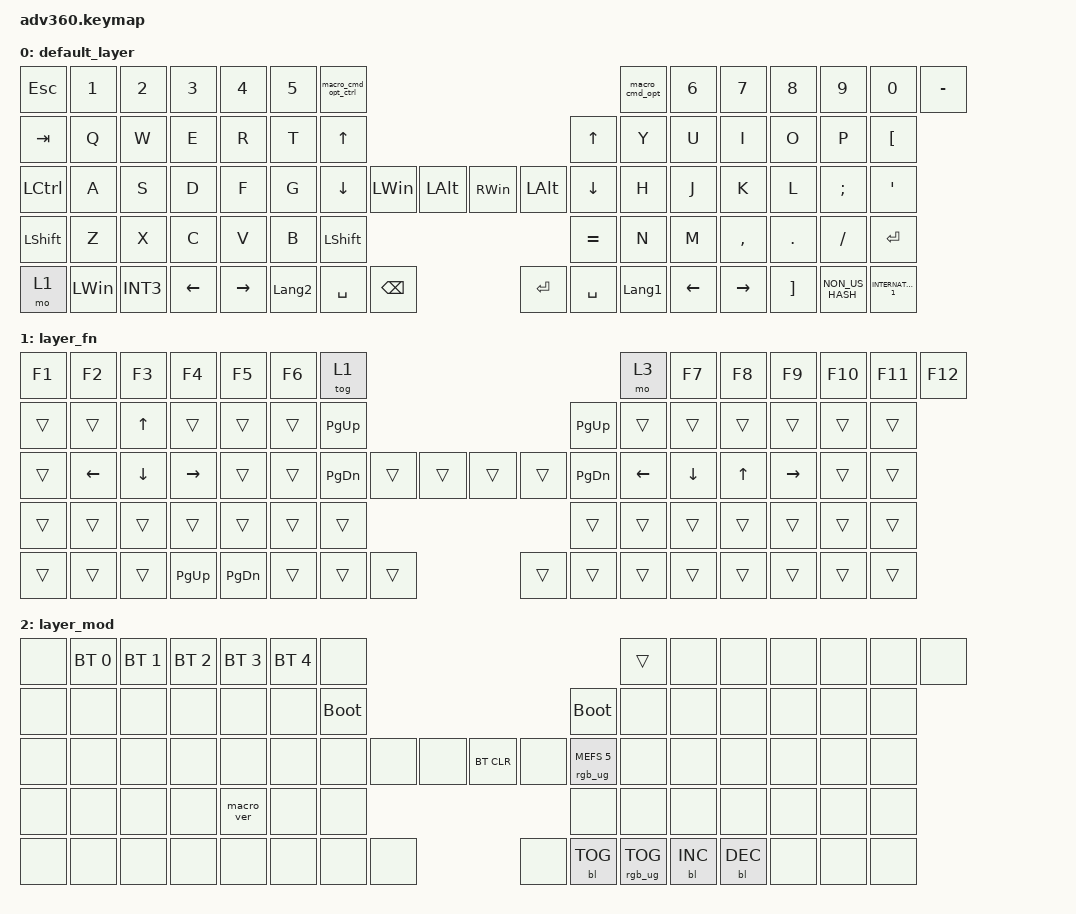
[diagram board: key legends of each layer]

/*
 * Copyright (c) 2020 The ZMK Contributors
 *
 * SPDX-License-Identifier: MIT
 */


/* THIS FILE WAS GENERATED!
 *
 * This file was generated automatically. You may or may not want to
 * edit it directly.
 */

#include <behaviors.dtsi>
#include <dt-bindings/zmk/keys.h>
#include <dt-bindings/zmk/bt.h>
#include <dt-bindings/zmk/rgb.h>
#include <dt-bindings/zmk/backlight.h>

/ {
  behaviors {
    #include "macros.dtsi"
    #include "version.dtsi"

    hm: homerow_mods {
        compatible = "zmk,behavior-hold-tap";
        label = "HOMEROW_MODS";
        #binding-cells = <2>;
        tapping-term-ms = <200>;
        quick_tap_ms = <175>;
        flavor = "tap-preferred";
        bindings = <&kp>, <&kp>;
    };
  };

    keymap {
        compatible = "zmk,keymap";


        default_layer {
            bindings = <
   &kp ESC        &kp N1    &kp N2    &kp N3     &kp N4  &kp N5            &macro_cmd_opt_ctrl                                                                             &macro_cmd_opt  &kp N6    &kp N7     &kp N8             &kp N9           &kp N0            &kp MINUS
   &kp TAB         &kp Q     &kp W     &kp E      &kp R   &kp T                         &kp UP                                                                               &kp UP_ARROW   &kp Y     &kp U      &kp I              &kp O            &kp P     &kp LEFT_BRACKET
 &kp LCTRL         &kp A     &kp S     &kp D      &kp F   &kp G                       &kp DOWN  &kp LEFT_WIN        &kp LALT                  &kp RIGHT_WIN  &kp LEFT_ALT  &kp DOWN_ARROW   &kp H     &kp J      &kp K              &kp L    &kp SEMICOLON     &kp SINGLE_QUOTE
 &kp LSHFT         &kp Z     &kp X     &kp C      &kp V   &kp B                                               &kp LEFT_SHIFT                      &kp EQUAL                                 &kp N     &kp M  &kp COMMA            &kp DOT         &kp FSLH            &kp ENTER
     &mo 1  &kp LEFT_WIN  &kp INT3  &kp LEFT  &kp RIGHT                         &kp LANGUAGE_2     &kp SPACE   &kp BACKSPACE                      &kp ENTER     &kp SPACE  &kp LANGUAGE_1          &kp LEFT  &kp RIGHT  &kp RIGHT_BRACKET  &kp NON_US_HASH  &kp INTERNATIONAL_1
            >;
        };

        layer_fn {
            bindings = <
 &kp F1    &kp F2    &kp F3       &kp F4     &kp F5  &kp F6                   &tog 1                                                          &mo 3    &kp F7    &kp F8  &kp F9    &kp F10  &kp F11  &kp F12
 &trans    &trans    &kp UP       &trans     &trans  &trans              &kp PAGE_UP                                                    &kp PAGE_UP    &trans    &trans  &trans     &trans   &trans   &trans
 &trans  &kp LEFT  &kp DOWN    &kp RIGHT     &trans  &trans            &kp PAGE_DOWN  &trans  &trans                  &trans  &trans  &kp PAGE_DOWN  &kp LEFT  &kp DOWN  &kp UP  &kp RIGHT   &trans   &trans
 &trans    &trans    &trans       &trans     &trans  &trans                                   &trans                  &trans                           &trans    &trans  &trans     &trans   &trans   &trans
 &trans    &trans    &trans  &kp PAGE_UP  &kp PG_DN                           &trans  &trans  &trans                  &trans  &trans         &trans              &trans  &trans     &trans   &trans   &trans
            >;
        };

        layer_mod {
            bindings = <
  &none  &bt BT_SEL 0  &bt BT_SEL 1  &bt BT_SEL 2  &bt BT_SEL 3  &bt BT_SEL 4                  &none                                                                          &trans   &none       &none       &none   &none   &none   &none
  &none         &none         &none         &none         &none         &none            &bootloader                                                                     &bootloader   &none       &none       &none   &none   &none   &none
  &none         &none         &none         &none         &none         &none                  &none   &none   &none                  &bt BT_CLR       &none  &rgb_ug RGB_MEFS_CMD 5   &none       &none       &none   &none   &none   &none
  &none         &none         &none         &none    &macro_ver         &none                                  &none                       &none                                       &none       &none       &none   &none   &none   &none
  &none         &none         &none         &none         &none                                &none   &none   &none                       &none  &bl BL_TOG         &rgb_ug RGB_TOG          &bl BL_INC  &bl BL_DEC   &none   &none   &none
            >;
        };

    };
};
